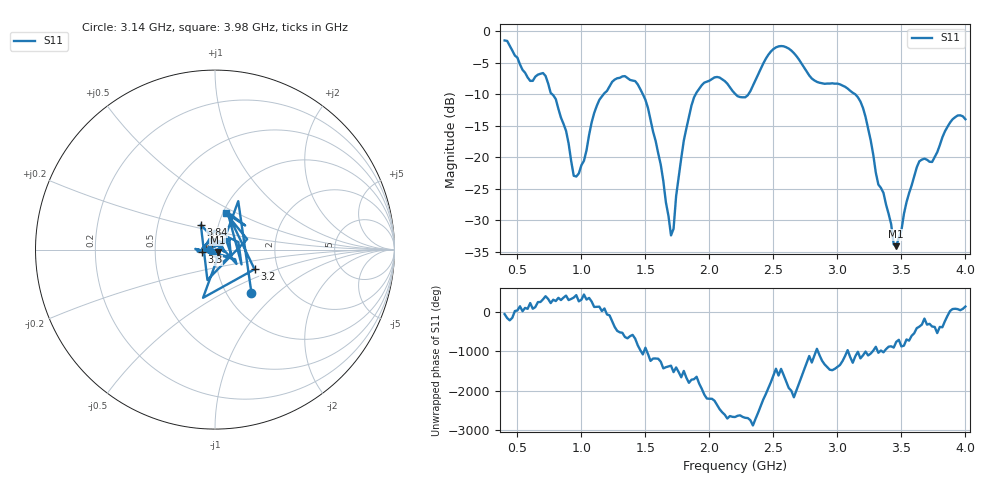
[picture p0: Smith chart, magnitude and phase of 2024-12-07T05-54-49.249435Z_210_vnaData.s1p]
!Created with skrf (http://scikit-rf.org).
# Hz S RI R 50.0
!freq ReS11 ImS11
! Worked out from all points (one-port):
!   181 points, 400 MHz to 4 GHz, reference 50 ohm
!   lowest |S11| = -34.1 dB at 3.46 GHz (marker M1), VSWR 1.04, Z = 51.4 - j1.4 ohm
!   |S11| at or under -10 dB: 771.3 MHz to 1.174 GHz (402.2 MHz wide, 41.4 % of centre); 1.48 GHz to 1.893 GHz (413 MHz wide, 24.5 % of centre); 3.139 GHz to end of sweep (the widest 3 of 4)
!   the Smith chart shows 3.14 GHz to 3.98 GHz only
!   S11 on the Smith chart (normalised r, x): 3.14 GHz: 1.30, -0.70; 3.2 GHz: 1.52, -0.35; 3.3 GHz: 0.86, -0.02; 3.84 GHz: 0.82, +0.24; 3.98 GHz: 1.04, +0.44
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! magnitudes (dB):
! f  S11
! 400 MHz  -1.5
! 600 MHz  -7.9
! 720 MHz  -7.1
! 860 MHz  -14.7
! 960 MHz  -23.0
! 1.14 GHz  -10.9
! 1.3 GHz  -7.4
! 1.5 GHz  -10.9
! 1.62 GHz  -21.2
! 1.7 GHz  -32.4
! 1.76 GHz  -23.1
! 1.9 GHz  -9.7
! 2.06 GHz  -7.3
! 2.2 GHz  -9.9
! 2.3 GHz  -10.2
! 2.5 GHz  -2.9
! 2.66 GHz  -3.5
! 3.1 GHz  -9.5
! 3.14 GHz  -10.0
! 3.2 GHz  -12.2
! 3.3 GHz  -22.4
! 3.46 GHz  -34.1
! 3.56 GHz  -25.7
! 3.64 GHz  -20.6
! 3.74 GHz  -20.7
! 3.84 GHz  -15.9
! 3.98 GHz  -13.5
! 4 GHz  -14.0
